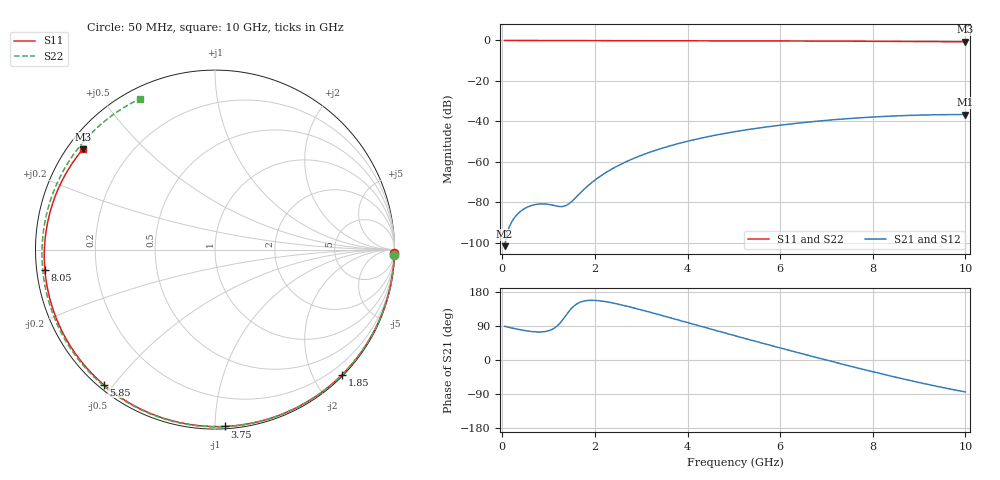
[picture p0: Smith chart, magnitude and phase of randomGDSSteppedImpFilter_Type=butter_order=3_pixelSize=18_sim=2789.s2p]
! freq	dB(S11)	phase(S11)	dB(S12)	phase(S12)
!  dB(S21)	phase(S21)	dB(S22)	phase(S22)
!S-par simulation data
#  GHz  S  DB  R 50
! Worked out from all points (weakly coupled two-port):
!   200 points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, 50 MHz to 10 GHz, reference 50 ohm
!   highest |S21| = -36.64 dB at 10 GHz (marker M1); lowest = -101.7 dB at 50 MHz (marker M2)
!   lowest |S11| = -0.7 dB at 10 GHz (marker M3), VSWR 25.57, Z = 2.18 + j16.8 ohm
!   |S11| at or under -10 dB: nowhere
!   |S22| runs from -0.6 to 0.0 dB; largest |S21 - S12| = 0
!   S11 on the Smith chart (normalised r, x): 50 MHz: 0, -92; 1.85 GHz: 0.02, -2.44; 3.75 GHz: 0.01, -1.06; 5.85 GHz: 0.02, -0.47; 8.05 GHz: 0.02, -0.06; 10 GHz: 0.04, +0.34
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0.05  -0.00 -1.2  -101.73 88.9  -101.73 88.9  -0.00 -1.6
0.35  -0.01 -8.6  -85.39 80.7  -85.39 80.7  -0.02 -11.0
0.7  -0.02 -17.1  -81.20 74.3  -81.20 74.3  -0.03 -21.9
1.05  -0.03 -25.6  -81.27 79.3  -81.27 79.3  -0.04 -32.6
1.45  -0.04 -35.2  -80.59 130.2  -80.59 130.2  -0.06 -44.6
1.5  -0.05 -36.4  -79.62 137.1  -79.62 137.1  -0.06 -46.1
1.75  -0.05 -42.3  -73.95 155.2  -73.95 155.2  -0.07 -53.4
1.85  -0.06 -44.6  -71.86 157.1  -71.86 157.1  -0.07 -56.3
2.15  -0.07 -51.6  -66.61 155.4  -66.61 155.4  -0.08 -64.8
2.5  -0.08 -59.5  -61.92 147.4  -61.92 147.4  -0.09 -74.4
2.9  -0.09 -68.5  -57.74 135.5  -57.74 135.5  -0.10 -85.0
3.4  -0.10 -79.4  -53.65 119.1  -53.65 119.1  -0.12 -97.8
3.75  -0.12 -86.9  -51.32 107.3  -51.32 107.3  -0.13 -106.4
4.4  -0.14 -100.5  -47.78 85.1  -47.78 85.1  -0.16 -121.7
5.05  -0.17 -113.7  -45.00 63.2  -45.00 63.2  -0.19 -136.3
5.85  -0.22 -129.6  -42.33 36.7  -42.33 36.7  -0.23 -153.5
6.7  -0.28 -146.3  -40.15 9.3  -40.15 9.3  -0.29 -171.4
7.35  -0.33 -159.1  -38.86 -11.1  -38.86 -11.1  -0.34 175.0
8.05  -0.40 -173.3  -37.80 -32.4  -37.80 -32.4  -0.39 160.2
8.35  -0.44 -179.6  -37.45 -41.2  -37.45 -41.2  -0.42 153.8
9.2  -0.55 161.8  -36.81 -64.7  -36.81 -64.7  -0.49 135.0
10  -0.68 142.8  -36.64 -84.3  -36.64 -84.3  -0.55 116.6
